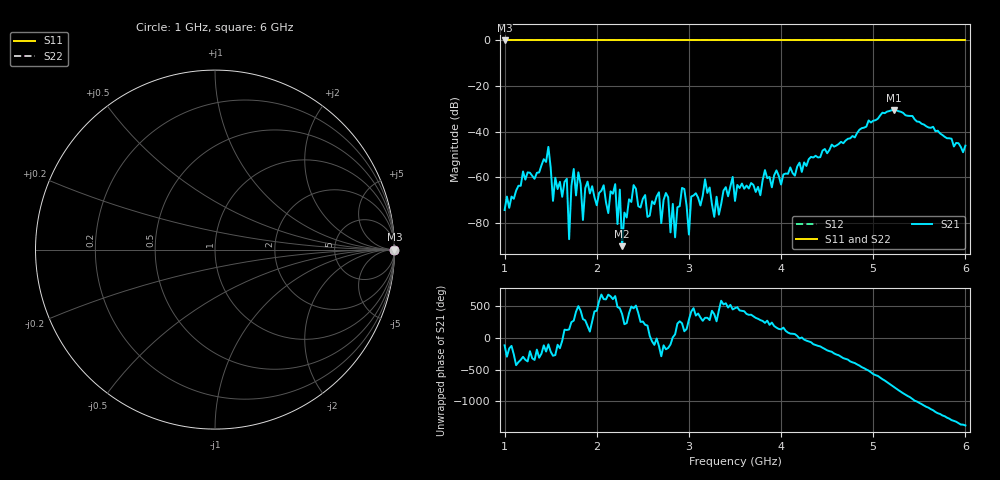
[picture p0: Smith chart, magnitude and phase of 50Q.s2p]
!Keysight Technologies N9926A: A.08.19
!Date: Sunday, 01 March 2026 13:48:12
!Timezone: (GMT-06:00) Central Time (US & Canada)
!Model: N9926A
!Serial: MY53102721
!GPS Latitude:
!GPS Longitude:
!GPS TimeStamp: 0001-01-01 00:00:00Z
!GPS Seconds Since Last Read: 0
!CHECKSUM:0248733787
!Correction: S11()S21(ON U)S12()S22()
!S2P File: Measurements:S11,S21,S12,S22:
# Hz S DB R 50
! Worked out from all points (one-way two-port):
!   201 points, 1 GHz to 6 GHz, reference 50 ohm
!   highest |S21| = -30.48 dB at 5.225 GHz (marker M1); lowest = -90.1 dB at 2.275 GHz (marker M2)
!   lowest |S11| = 0.0 dB at 1 GHz (marker M3)
!   |S11| at or under -10 dB: nowhere
!   |S22| runs from 0.0 to 0.0 dB; largest |S21 - S12| = 1
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1e9  0.00 0.0  -74.28 -117.0  0.00 0.0  0.00 0.0
1.475e9  0.00 0.0  -46.60 -101.7  0.00 0.0  0.00 0.0
1.525e9  0.00 0.0  -70.26 77.5  0.00 0.0  0.00 0.0
1.675e9  0.00 0.0  -60.60 125.0  0.00 0.0  0.00 0.0
1.7e9  0.00 0.0  -87.05 133.8  0.00 0.0  0.00 0.0
1.75e9  0.00 0.0  -56.31 -87.6  0.00 0.0  0.00 0.0
1.85e9  0.00 0.0  -78.64 -62.1  0.00 0.0  0.00 0.0
1.9e9  0.00 0.0  -61.83 -173.1  0.00 0.0  0.00 0.0
2.125e9  0.00 0.0  -75.62 -36.5  0.00 0.0  0.00 0.0
2.2e9  0.00 0.0  -62.92 -59.3  0.00 0.0  0.00 0.0
2.225e9  0.00 0.0  -80.40 127.7  0.00 0.0  0.00 0.0
2.25e9  0.00 0.0  -65.34 109.2  0.00 0.0  0.00 0.0
2.275e9  0.00 0.0  -90.10 15.0  0.00 0.0  0.00 0.0
2.675e9  0.00 0.0  -66.50 -128.4  0.00 0.0  0.00 0.0
2.7e9  0.00 0.0  -80.00 69.8  0.00 0.0  0.00 0.0
3.175e9  0.00 0.0  -60.81 -42.7  0.00 0.0  0.00 0.0
3.275e9  0.00 0.0  -77.26 14.3  0.00 0.0  0.00 0.0
3.5e9  0.00 0.0  -70.29 109.9  0.00 0.0  0.00 0.0
4.35e9  0.00 0.0  -51.28 -99.5  0.00 0.0  0.00 0.0
5.175e9  0.00 0.0  -30.92 -6.4  0.00 0.0  0.00 0.0
5.225e9  0.00 0.0  -30.48 -56.1  0.00 0.0  0.00 0.0
6e9  0.00 0.0  -46.05 56.4  0.00 0.0  0.00 0.0
